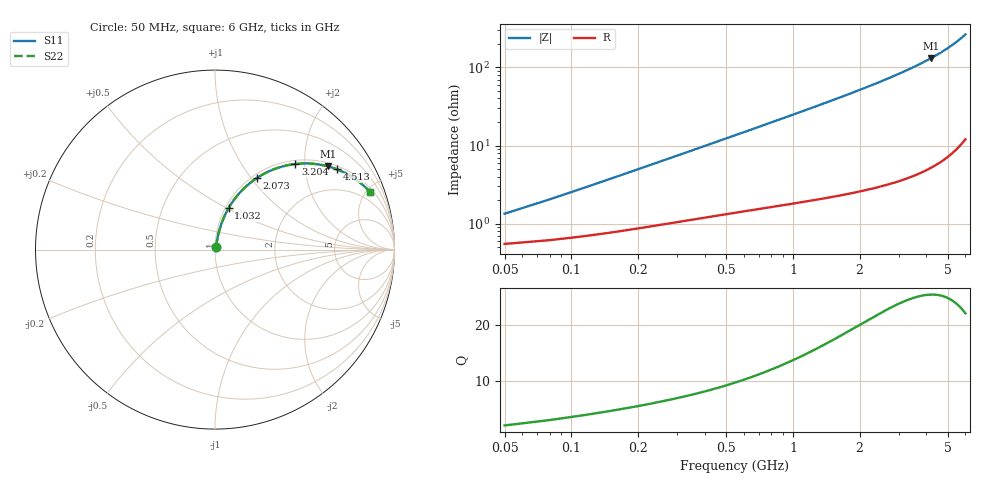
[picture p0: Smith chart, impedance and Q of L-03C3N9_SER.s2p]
! L-03C3N9
! Data taken by Rita
! Created Thu Jun 15 17:46:12 2006
# hz S ma R 50
! 2 Port Network Data from SP1.SP block
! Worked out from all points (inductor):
!   201 points, 50 MHz to 6 GHz, reference 50 ohm
!   read as one part in series: L = 3.89 nH near 79.75 MHz
!   highest Q = 25.3 at 4.215 GHz (marker M1), where L = 4.98 nH
!   S11 on the Smith chart (normalised r, x): 50 MHz: 1.01, +0.02; 1.032 GHz: 1.04, +0.51; 2.073 GHz: 1.05, +1.07; 3.204 GHz: 1.07, +1.79; 4.513 GHz: 1.12, +2.95; 6 GHz: 1.24, +5.27
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5e7  0.01333 65.1  0.9945 -0.7  0.9945 -0.7  0.01333 65.1
7.975e7  0.02031 71.4  0.9937 -1.1  0.9937 -1.1  0.02031 71.4
1.095e8  0.02742 74.2  0.9929 -1.5  0.9929 -1.5  0.02742 74.2
1.3925e8  0.03457 75.7  0.992 -1.9  0.992 -1.9  0.03457 75.7
1.69e8  0.04173 76.6  0.9912 -2.3  0.9912 -2.3  0.04173 76.6
2.285e8  0.05604 77.5  0.9893 -3.2  0.9893 -3.2  0.05604 77.5
3.1775e8  0.07743 77.7  0.9865 -4.4  0.9865 -4.4  0.07743 77.7
4.3675e8  0.1058 77.3  0.9823 -6.0  0.9823 -6.0  0.1058 77.3
6.1525e8  0.148 76.0  0.9749 -8.5  0.9749 -8.5  0.148 76.0
7.9375e8  0.1896 74.4  0.9663 -10.9  0.9663 -10.9  0.1896 74.4
1.0318e9  0.244 71.8  0.9525 -14.1  0.9525 -14.1  0.244 71.8
1.0615e9  0.2507 71.5  0.9506 -14.5  0.9506 -14.5  0.2507 71.5
1.5078e9  0.3484 66.3  0.9174 -20.4  0.9174 -20.4  0.3484 66.3
2.0433e9  0.4571 60.0  0.8671 -27.2  0.8671 -27.2  0.4571 60.0
2.073e9  0.4628 59.6  0.864 -27.5  0.864 -27.5  0.4628 59.6
3.025e9  0.6277 48.8  0.7525 -38.8  0.7525 -38.8  0.6277 48.8
3.2035e9  0.6545 46.8  0.7295 -40.8  0.7295 -40.8  0.6545 46.8
4.0365e9  0.7627 38.1  0.6173 -49.6  0.6173 -49.6  0.7627 38.1
4.215e9  0.7824 36.3  0.5926 -51.4  0.5926 -51.4  0.7824 36.3
4.5125e9  0.8127 33.4  0.5514 -54.3  0.5514 -54.3  0.8127 33.4
5.0183e9  0.8572 28.8  0.4814 -58.9  0.4814 -58.9  0.8572 28.8
6e9  0.9214 20.4  0.349 -67.0  0.349 -67.0  0.9214 20.4
